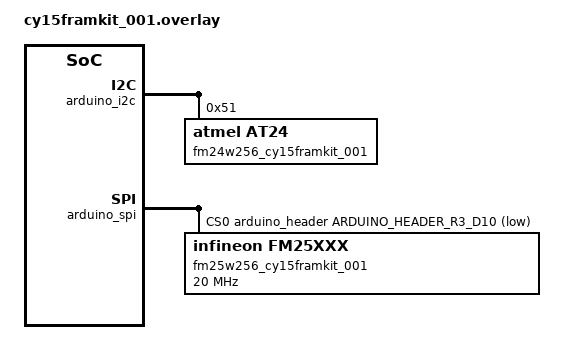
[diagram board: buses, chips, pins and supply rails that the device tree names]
/*
 * SPDX-FileCopyrightText: Copyright (c) 2026 Infineon Technologies AG,
 * SPDX-FileCopyrightText: or an affiliate of Infineon Technologies AG. All rights reserved.
 *
 * SPDX-License-Identifier: Apache-2.0
 */

#include <mem.h>
#include <zephyr/dt-bindings/gpio/arduino-header-r3.h>

/ {
	aliases {
		eeprom-0 = &fm24w256_cy15framkit_001;
		eeprom-1 = &fm25w256_cy15framkit_001;
	};
};

&arduino_i2c {
	status = "okay";

	/*
	 * FM24W256 (U2).  The address is 0b1010 followed by the A2..A0 pins,
	 * which DIP switch SW1 sets.  This describes SW1 position 1 on (A0
	 * high) and positions 2 and 3 off, giving 0x51.  The kit ships with
	 * all three off, which gives 0x50.
	 *
	 * F-RAM has no page-write boundary and no write cycle, so pagesize
	 * and timeout only bound the driver's transfers.
	 */
	fm24w256_cy15framkit_001: eeprom@51 {
		compatible = "atmel,at24";
		reg = <0x51>;
		size = <DT_SIZE_K(32)>;
		pagesize = <256>;
		address-width = <16>;
		timeout = <5>;
	};
};

&arduino_spi {
	cs-gpios = <&arduino_header ARDUINO_HEADER_R3_D10 GPIO_ACTIVE_LOW>;
	status = "okay";

	/* FM25W256 (U1).  WP# and HOLD# are pulled up on the shield. */
	fm25w256_cy15framkit_001: fram@0 {
		compatible = "infineon,fm25xxx";
		reg = <0>;
		spi-max-frequency = <20000000>;
		size = <DT_SIZE_K(32)>;
	};
};
